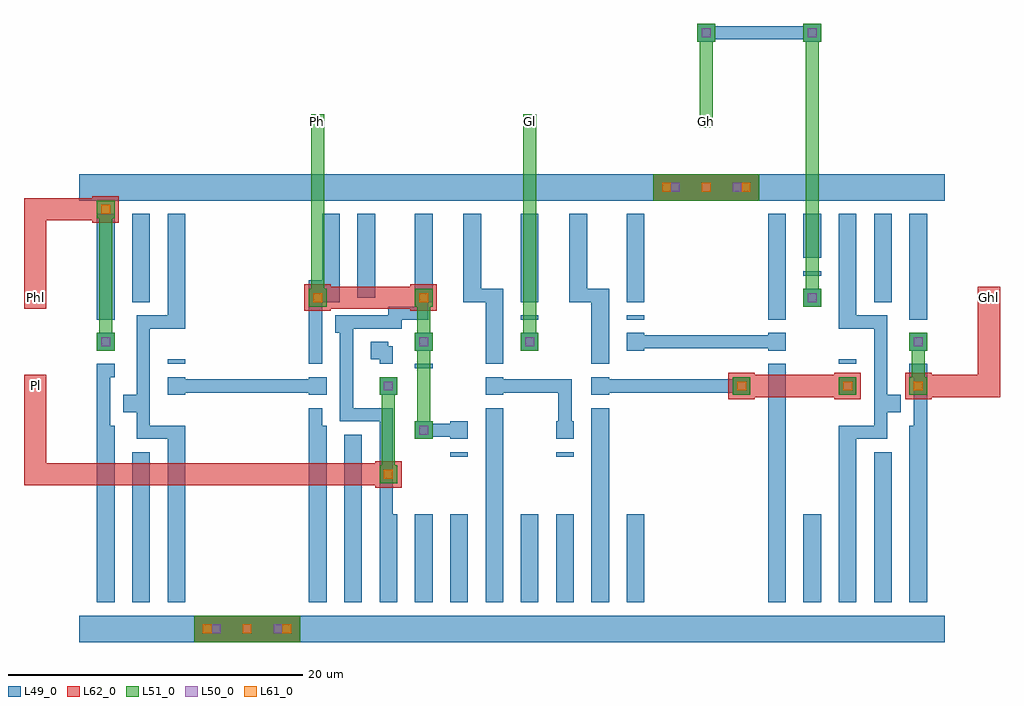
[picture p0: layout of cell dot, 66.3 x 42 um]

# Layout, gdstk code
from math import pi, radians
import gdstk
lib = gdstk.Library(unit=1e-6, precision=1e-09)
def R(c, l, rs):  # rectangles x0, y0, x1, y1
    for r in rs: c.add(gdstk.rectangle(r[:2], r[2:], *l))
def A(c, l, x, y, w, h, nx, ny, dx, dy):  # array of equal rectangles
    R(c, l, [(x+i*dx, y+j*dy, x+i*dx+w, y+j*dy+h) for i in range(nx) for j in range(ny)])
L49_0 = (49, 0)
L50_0 = (50, 0)
L51_0 = (51, 0)
L61_0 = (61, 0)
L62_0 = (62, 0)

bufx2 = lib.new_cell('BUFX2')
R(bufx2, L49_0, [(-0.6,-0.9,7.8,0.9), (0.6,1.8,1.8,8.7), (3,1.8,4.2,7.8), (5.4,1.8,6.6,9), (0.6,8.7,3.9,9.6), (3,9.6,3.9,14.1), (5.4,9.9,6.6,11.1), (0.6,11.7,1.8,12), (5.4,12,6.6,12.9), (0.6,12.9,1.8,14.1), (5.7,12.9,6.6,16.2), (3,14.1,4.8,15.3), (3,15.3,3.9,16.2), (0.6,16.2,3.9,17.1), (5.4,16.2,6.6,28.2), (0.6,17.1,1.8,28.2), (3,18,4.2,28.2), (-0.6,29.1,7.8,30.9)])
bufx2.add(gdstk.Label('A', (1.2,13.5), layer=49, texttype=0))
bufx2.add(gdstk.Label('gnd', (3.6,0), layer=49, texttype=0))
bufx2.add(gdstk.Label('Y', (6,10.5), layer=49, texttype=0))
bufx2.add(gdstk.Label('vdd', (3.6,30), layer=49, texttype=0))

fill = lib.new_cell('FILL')
R(fill, L49_0, [(-0.6,-0.9,3,0.9), (-0.6,29.1,3,30.9)])
fill.add(gdstk.Label('gnd', (1.2,0), layer=49, texttype=0))
fill.add(gdstk.Label('vdd', (1.2,30), layer=49, texttype=0))

and2x2 = lib.new_cell('AND2X2')
R(and2x2, L49_0, [(-0.6,-0.9,10.2,0.9), (0.6,1.8,1.8,7.8), (4.5,1.8,5.7,7.5), (6.9,1.8,8.1,6.3), (6.9,6.3,9,7.8), (0.9,7.8,1.8,8.1), (8.1,7.8,9,12), (0.9,8.1,3.6,8.7), (0.9,8.7,7.2,9), (2.7,9,7.2,9.6), (6,9.6,7.2,9.9), (0.6,9.9,1.8,11.1), (6,9.9,6.9,15), (3.6,10.5,4.8,10.8), (3.3,10.8,4.8,11.7), (3.3,11.7,4.2,12), (0.6,12,1.8,12.3), (3,12.9,4.2,14.1), (7.8,12.9,9,14.1), (3.3,15,6.9,15.9), (8.1,15,9,16.2), (3.3,15.9,4.2,22.2), (7.8,16.2,9,28.2), (5.4,16.8,6.6,28.2), (0.6,22.2,1.8,28.2), (3,22.2,4.2,28.2), (-0.6,29.1,10.2,30.9)])
and2x2.add(gdstk.Label('A', (1.2,10.5), layer=49, texttype=0))
and2x2.add(gdstk.Label('B', (3.6,13.5), layer=49, texttype=0))
and2x2.add(gdstk.Label('gnd', (4.8,0), layer=49, texttype=0))
and2x2.add(gdstk.Label('Y', (8.4,13.5), layer=49, texttype=0))
and2x2.add(gdstk.Label('vdd', (4.8,30), layer=49, texttype=0))

nand2x1 = lib.new_cell('NAND2X1')
R(nand2x1, L49_0, [(-0.6,-0.9,7.8,0.9), (0.6,1.8,1.8,7.8), (4.5,1.8,5.7,6.9), (3,6.9,5.7,7.8), (3,7.8,4.2,12), (0.6,8.7,1.8,9), (0.6,9.9,1.8,11.1), (3,12.9,4.2,14.1), (3,15,4.2,28.2), (5.4,15.9,6.6,17.1), (5.4,18,6.6,18.3), (0.6,22.2,1.8,28.2), (5.4,22.2,6.6,28.2), (-0.6,29.1,7.8,30.9)])
nand2x1.add(gdstk.Label('A', (1.2,10.5), layer=49, texttype=0))
nand2x1.add(gdstk.Label('B', (6,16.5), layer=49, texttype=0))
nand2x1.add(gdstk.Label('gnd', (3.6,0), layer=49, texttype=0))
nand2x1.add(gdstk.Label('Y', (3.6,13.5), layer=49, texttype=0))
nand2x1.add(gdstk.Label('vdd', (3.6,30), layer=49, texttype=0))

invx1 = lib.new_cell('INVX1')
R(invx1, L49_0, [(-0.6,-0.9,5.4,0.9), (0.6,1.8,1.8,4.8), (3,1.8,4.2,9), (0.6,5.7,1.8,6), (0.6,6.9,1.8,8.1), (3,9.9,4.2,11.1), (3,12,4.2,28.2), (0.6,22.2,1.8,28.2), (-0.6,29.1,5.4,30.9)])
invx1.add(gdstk.Label('A', (1.2,7.5), layer=49, texttype=0))
invx1.add(gdstk.Label('gnd', (2.4,0), layer=49, texttype=0))
invx1.add(gdstk.Label('Y', (3.6,10.5), layer=49, texttype=0))
invx1.add(gdstk.Label('vdd', (2.4,30), layer=49, texttype=0))

dot = lib.new_cell('dot')
R(dot, L49_0, [(8.4,0.9,15.6,2.1), (23.4,14.4,24.6,14.55), (23.4,14.55,26.85,15.45), (33.15,14.55,34.05,17.55), (23.4,15.45,24.6,15.6), (21,17.4,22.2,18.6), (45,17.4,46.2,17.55), (52.2,17.4,53.4,18.6), (6.75,17.55,17.25,18.45), (28.35,17.55,34.05,18.45), (35.55,17.55,46.2,18.45), (45,18.45,46.2,18.6), (1.8,20.4,3,21.6), (23.4,20.4,24.6,21.6), (30.6,20.4,31.8,21.6), (57,20.4,58.2,21.6), (37.95,20.55,48.45,21.45), (49.8,23.4,51,24.6), (39.6,30.9,46.8,32.1), (42.6,41.4,43.8,41.55), (49.8,41.4,51,41.55), (42.6,41.55,51,42.45), (42.6,42.45,43.8,42.6), (49.8,42.45,51,42.6)])
A(dot, L50_0, 9.6, 1.2, 0.6, 0.6, 3, 1, 2.1, 0)
A(dot, L50_0, 40.8, 31.2, 0.6, 0.6, 3, 1, 2.1, 0)
R(dot, L50_0, [(23.7,14.7,24.3,15.3), (21.3,17.7,21.9,18.3), (45.3,17.7,45.9,18.3), (52.5,17.7,53.1,18.3), (2.1,20.7,2.7,21.3), (23.7,20.7,24.3,21.3), (30.9,20.7,31.5,21.3), (57.3,20.7,57.9,21.3), (50.1,23.7,50.7,24.3), (42.9,41.7,43.5,42.3), (50.1,41.7,50.7,42.3)])
R(dot, L51_0, [(8.4,0.6,15.6,2.4), (21,11.4,22.2,12.6), (21.15,12.6,22.05,17.4), (23.4,14.4,24.6,15.6), (23.55,15.6,24.45,20.4), (21,17.4,22.2,18.6), (45,17.4,46.2,18.6), (52.2,17.4,53.4,18.6), (57,17.4,58.2,18.6), (57.15,18.6,58.05,20.4), (1.8,20.4,3,21.6), (23.4,20.4,24.6,21.6), (30.6,20.4,31.8,21.6), (57,20.4,58.2,21.6), (1.95,21.6,2.85,29.4), (23.55,21.6,24.45,23.4), (30.75,21.6,31.65,36.45), (16.2,23.4,17.4,24.6), (23.4,23.4,24.6,24.6), (49.8,23.4,51,24.6), (16.35,24.6,17.25,36.45), (49.95,24.6,50.85,41.4), (1.8,29.4,3,30.6), (39.6,30.6,46.8,32.4), (42.75,35.55,43.65,41.4), (42.6,41.4,43.8,42.6), (49.8,41.4,51,42.6)])
A(dot, L61_0, 9, 1.2, 0.6, 0.6, 3, 1, 2.7, 0)
A(dot, L61_0, 40.2, 31.2, 0.6, 0.6, 3, 1, 2.7, 0)
R(dot, L61_0, [(21.3,11.7,21.9,12.3), (45.3,17.7,45.9,18.3), (52.5,17.7,53.1,18.3), (57.3,17.7,57.9,18.3), (16.5,23.7,17.1,24.3), (23.7,23.7,24.3,24.3), (2.1,29.7,2.7,30.3)])
R(dot, L62_0, [(8.4,0.6,15.6,2.4), (20.7,11.1,22.5,11.25), (-3.15,11.25,22.5,12.75), (-3.15,12.75,-1.65,18.75), (20.7,12.75,22.5,12.9), (44.7,17.1,46.5,17.25), (51.9,17.1,53.7,17.25), (56.7,17.1,58.5,17.25), (44.7,17.25,53.7,18.75), (56.7,17.25,63.15,18.75), (44.7,18.75,46.5,18.9), (51.9,18.75,53.7,18.9), (56.7,18.75,58.5,18.9), (61.65,18.75,63.15,24.75), (15.9,23.1,17.7,23.25), (23.1,23.1,24.9,23.25), (-3.15,23.25,-1.65,29.25), (15.9,23.25,24.9,24.75), (15.9,24.75,17.7,24.9), (23.1,24.75,24.9,24.9), (1.5,29.1,3.3,29.25), (-3.15,29.25,3.3,30.75), (39.6,30.6,46.8,32.4), (1.5,30.75,3.3,30.9)])
dot.add(gdstk.Reference(bufx2, (8.4,31.5), rotation=pi))
dot.add(gdstk.Reference(fill, (10.8,31.5), rotation=pi))
dot.add(gdstk.Reference(fill, (13.2,31.5), rotation=pi))
dot.add(gdstk.Reference(fill, (15.6,31.5), rotation=pi))
dot.add(gdstk.Reference(and2x2, (25.2,31.5), rotation=pi))
dot.add(gdstk.Reference(nand2x1, (32.4,31.5), rotation=pi))
dot.add(gdstk.Reference(nand2x1, (39.6,31.5), rotation=pi))
dot.add(gdstk.Reference(fill, (42,31.5), rotation=pi))
dot.add(gdstk.Reference(fill, (44.4,31.5), rotation=pi))
dot.add(gdstk.Reference(fill, (46.8,31.5), rotation=pi))
dot.add(gdstk.Reference(invx1, (51.6,31.5), rotation=pi))
dot.add(gdstk.Reference(bufx2, (51.6,31.5), x_reflection=True))
dot.add(gdstk.Label('Gh', (43.2,36), layer=51, texttype=0))
dot.add(gdstk.Label('Ph', (16.8,36), layer=51, texttype=0))
dot.add(gdstk.Label('Gl', (31.2,36), layer=51, texttype=0))
dot.add(gdstk.Label('Pl', (-2.4,18), layer=62, texttype=0))
dot.add(gdstk.Label('Ghl', (62.4,24), layer=62, texttype=0))
dot.add(gdstk.Label('Phl', (-2.4,24), layer=62, texttype=0))

lib.write_gds('dot.gds')
